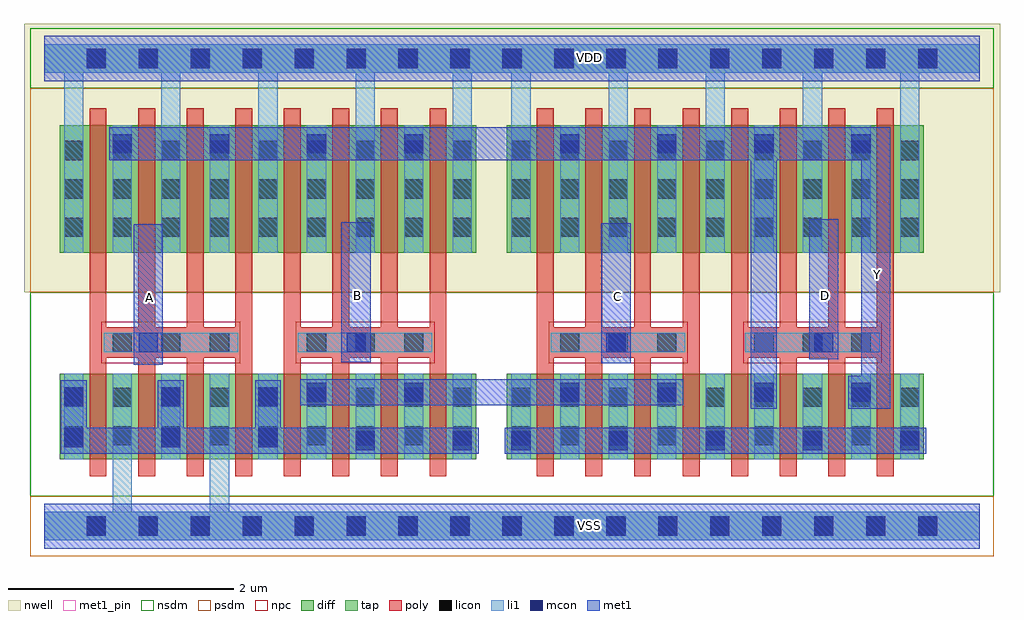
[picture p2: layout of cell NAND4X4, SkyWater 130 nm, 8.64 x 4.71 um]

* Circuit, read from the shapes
.subckt NAND4X4 A B C D VDD VSS Y
XM1 VSS A n1 VSS sky130_fd_pr__nfet_01v8 w=0.76 l=0.15 m=4
XM2 n2 B n1 VSS sky130_fd_pr__nfet_01v8 w=0.76 l=0.15 m=4
XM3 n2 C n3 VSS sky130_fd_pr__nfet_01v8 w=0.76 l=0.15 m=4
XM4 Y D n3 VSS sky130_fd_pr__nfet_01v8 w=0.76 l=0.15 m=4
XM5 Y A VDD VDD sky130_fd_pr__pfet_01v8 w=1.13 l=0.15 m=4
XM6 Y B VDD VDD sky130_fd_pr__pfet_01v8 w=1.13 l=0.15 m=4
XM7 Y C VDD VDD sky130_fd_pr__pfet_01v8 w=1.13 l=0.15 m=4
XM8 Y D VDD VDD sky130_fd_pr__pfet_01v8 w=1.13 l=0.15 m=4
.ends

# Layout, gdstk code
from math import pi, radians
import gdstk
lib = gdstk.Library(unit=1e-6, precision=1e-09)
def R(c, l, rs):  # rectangles x0, y0, x1, y1
    for r in rs: c.add(gdstk.rectangle(r[:2], r[2:], *l))
def A(c, l, x, y, w, h, nx, ny, dx, dy):  # array of equal rectangles
    R(c, l, [(x+i*dx, y+j*dy, x+i*dx+w, y+j*dy+h) for i in range(nx) for j in range(ny)])
def P(c, l, *ps):  # polygons
    for p in ps: c.add(gdstk.Polygon(p, *l))
nwell = (64, 20)
diff = (65, 20)
tap = (65, 44)
poly = (66, 20)
licon = (66, 44)
li1 = (67, 20)
mcon = (67, 44)
met1_pin = (68, 16)
met1 = (68, 20)
nsdm = (93, 44)
psdm = (94, 20)
npc = (95, 20)

pyl1con_c_cdns_751554744 = lib.new_cell('PYL1CON_C_CDNS_751554744751')
R(pyl1con_c_cdns_751554744, poly, [(-0.135,-0.165,0.135,0.165)])
R(pyl1con_c_cdns_751554744, licon, [(-0.085,-0.085,0.085,0.085)])
R(pyl1con_c_cdns_751554744, npc, [(-0.185,-0.185,0.185,0.185)])

l1m1_c_cdns_751554744750 = lib.new_cell('L1M1_C_CDNS_751554744750_CDNS_7956644774916')
R(l1m1_c_cdns_751554744750, li1, [(-0.085,-0.165,0.085,0.165)])
R(l1m1_c_cdns_751554744750, mcon, [(-0.085,-0.085,0.085,0.085)])
R(l1m1_c_cdns_751554744750, met1, [(-0.145,-0.115,0.145,0.115)])

c_l1m1_c_cdns_751554744750 = lib.new_cell('L1M1_C_CDNS_751554744750_CDNS_7956644774912')
R(c_l1m1_c_cdns_751554744750, li1, [(-0.165,-0.085,0.165,0.085)])
R(c_l1m1_c_cdns_751554744750, mcon, [(-0.085,-0.085,0.085,0.085)])
R(c_l1m1_c_cdns_751554744750, met1, [(-0.115,-0.145,0.115,0.145)])

c_l1m1_c_cdns_751554744750_ = lib.new_cell('L1M1_C_CDNS_751554744750_CDNS_7956644774910')
R(c_l1m1_c_cdns_751554744750_, li1, [(-0.085,-0.345,0.085,0.345)])
R(c_l1m1_c_cdns_751554744750_, mcon, [(-0.085,-0.265,0.085,-0.095), (-0.085,0.095,0.085,0.265)])
R(c_l1m1_c_cdns_751554744750_, met1, [(-0.115,-0.325,0.115,0.325)])

c_l1m1_c_cdns_751554744750__ = lib.new_cell('L1M1_C_CDNS_751554744750_CDNS_7956644774911')
R(c_l1m1_c_cdns_751554744750__, li1, [(-0.085,-0.165,0.085,0.165)])
R(c_l1m1_c_cdns_751554744750__, mcon, [(-0.085,-0.085,0.085,0.085)])
R(c_l1m1_c_cdns_751554744750__, met1, [(-0.115,-0.145,0.115,0.145)])

nand4x4 = lib.new_cell('NAND4X4')
R(nand4x4, nwell, [(-0.18,2.07,8.46,4.445)])
R(nand4x4, diff, [(0.135,0.59,3.825,1.35), (4.095,0.59,7.785,1.35), (0.135,2.42,3.825,3.55), (4.095,2.42,7.785,3.55)])
A(nand4x4, poly, 0.4, 0.44, 0.15, 3.26, 8, 1, 0.43, 0)
A(nand4x4, poly, 4.36, 0.44, 0.15, 3.26, 8, 1, 0.43, 0)
A(nand4x4, licon, 0.375, -0.085, 0.17, 0.17, 17, 2, 0.46, 4.14)
A(nand4x4, licon, 0.175, 0.715, 0.17, 0.17, 9, 2, 0.43, 0.34)
A(nand4x4, licon, 4.135, 0.715, 0.17, 0.17, 9, 2, 0.43, 0.34)
A(nand4x4, licon, 0.175, 2.56, 0.17, 0.17, 9, 3, 0.43, 0.34)
A(nand4x4, licon, 4.135, 2.56, 0.17, 0.17, 9, 3, 0.43, 0.34)
A(nand4x4, li1, 0.175, 0.59, 0.17, 0.76, 3, 1, 0.86, 0)
A(nand4x4, li1, 2.325, 0.59, 0.17, 0.76, 4, 1, 0.43, 0)
A(nand4x4, li1, 4.135, 0.59, 0.17, 0.76, 9, 1, 0.43, 0)
A(nand4x4, li1, 0.605, 2.42, 0.17, 1.13, 4, 1, 0.86, 0)
A(nand4x4, li1, 4.565, 2.42, 0.17, 1.13, 4, 1, 0.86, 0)
P(nand4x4, li1, [(0,-0.125),(0,0.125),(0.605,0.125),(0.605,1.35),(0.775,1.35),(0.775,0.125),(1.465,0.125),(1.465,1.35),(1.635,1.35),(1.635,0.125),(8.28,0.125),(8.28,-0.125)],
  [(0.175,2.42),(0.175,4.015),(0,4.015),(0,4.265),(8.28,4.265),(8.28,4.015),(7.745,4.015),(7.745,2.42),(7.575,2.42),(7.575,4.015),(6.885,4.015),(6.885,2.42),(6.715,2.42),(6.715,4.015),(6.025,4.015),(6.025,2.42),(5.855,2.42),(5.855,4.015),(5.165,4.015),(5.165,2.42),(4.995,2.42),(4.995,4.015),(4.305,4.015),(4.305,2.42),(4.135,2.42),(4.135,4.015),(3.785,4.015),(3.785,2.42),(3.615,2.42),(3.615,4.015),(2.925,4.015),(2.925,2.42),(2.755,2.42),(2.755,4.015),(2.065,4.015),(2.065,2.42),(1.895,2.42),(1.895,4.015),(1.205,4.015),(1.205,2.42),(1.035,2.42),(1.035,4.015),(0.345,4.015),(0.345,2.42)])
A(nand4x4, mcon, 0.375, -0.085, 0.17, 0.17, 17, 2, 0.46, 4.14)
R(nand4x4, met1_pin, [(0.79,1.43,1.05,2.67), (4.93,1.44,5.19,2.68), (2.63,1.45,2.89,2.69), (6.77,1.475,7.03,2.715), (7.23,1.63,7.49,2.87)])
P(nand4x4, met1, [(6.255,1.04),(6.255,3.24),(0.575,3.24),(0.575,3.53),(7.49,3.53),(7.49,1.04),(7.23,1.04),(7.23,3.24),(6.485,3.24),(6.485,1.04)])
R(nand4x4, nsdm, [(-0.125,0.265,8.405,2.07), (-0.125,3.875,8.405,4.405)])
R(nand4x4, psdm, [(-0.125,-0.265,8.405,0.265), (-0.125,2.07,8.405,3.875)])
R(nand4x4, npc, [(0.505,1.44,1.735,1.81), (2.225,1.44,3.455,1.81), (4.465,1.44,5.695,1.81), (6.185,1.44,7.415,1.81)])
nand4x4.add(gdstk.FlexPath([(4.485,1.625),(5.675,1.625)], 0.17, ends="flush", simple_path=True, layer=67, datatype=20))  # li1
nand4x4.add(gdstk.FlexPath([(2.245,1.625),(3.435,1.625)], 0.17, ends="flush", simple_path=True, layer=67, datatype=20))  # li1
nand4x4.add(gdstk.FlexPath([(6.205,1.625),(7.395,1.625)], 0.17, ends="flush", simple_path=True, layer=67, datatype=20))  # li1
nand4x4.add(gdstk.FlexPath([(0.525,1.625),(1.715,1.625)], 0.17, ends="flush", simple_path=True, layer=67, datatype=20))  # li1
nand4x4.add(gdstk.FlexPath([(0,0),(8.28,0)], 0.4, ends="flush", simple_path=True, layer=68, datatype=20))  # met1
nand4x4.add(gdstk.FlexPath([(3.845,0.755),(0.145,0.755)], 0.23, ends="flush", simple_path=True, layer=68, datatype=20))  # met1
nand4x4.add(gdstk.FlexPath([(6.9,1.475),(6.9,2.715)], 0.26, ends="flush", simple_path=True, layer=68, datatype=20))  # met1
nand4x4.add(gdstk.FlexPath([(5.655,1.185),(2.265,1.185)], 0.23, ends="flush", simple_path=True, layer=68, datatype=20))  # met1
nand4x4.add(gdstk.FlexPath([(7.71,0.755),(4.075,0.755)], 0.23, ends="flush", simple_path=True, layer=68, datatype=20))  # met1
nand4x4.add(gdstk.FlexPath([(0.92,1.43),(0.92,2.67)], 0.26, ends="flush", simple_path=True, layer=68, datatype=20))  # met1
nand4x4.add(gdstk.FlexPath([(2.76,1.45),(2.76,2.69)], 0.26, ends="flush", simple_path=True, layer=68, datatype=20))  # met1
nand4x4.add(gdstk.FlexPath([(5.06,1.44),(5.06,2.68)], 0.26, ends="flush", simple_path=True, layer=68, datatype=20))  # met1
nand4x4.add(gdstk.FlexPath([(0,4.14),(8.28,4.14)], 0.4, ends="flush", simple_path=True, layer=68, datatype=20))  # met1
nand4x4.add(gdstk.FlexPath([(0,4.14),(8.28,4.14)], 0.25, ends="flush", simple_path=True, layer=65, datatype=44))  # tap
nand4x4.add(gdstk.FlexPath([(0,0),(8.28,0)], 0.25, ends="flush", simple_path=True, layer=65, datatype=44))  # tap
nand4x4.add(gdstk.FlexPath([(0,0),(8.28,0)], 0.4, ends="flush", simple_path=True, layer=68, datatype=16))  # met1_pin
nand4x4.add(gdstk.FlexPath([(0,4.14),(8.28,4.14)], 0.4, ends="flush", simple_path=True, layer=68, datatype=16))  # met1_pin
nand4x4.add(gdstk.Reference(pyl1con_c_cdns_751554744, (0.69,1.625), rotation=3*pi/2, x_reflection=True))
nand4x4.add(gdstk.Reference(pyl1con_c_cdns_751554744, (1.12,1.625), rotation=3*pi/2, x_reflection=True))
nand4x4.add(gdstk.Reference(pyl1con_c_cdns_751554744, (1.55,1.625), rotation=3*pi/2, x_reflection=True))
nand4x4.add(gdstk.Reference(pyl1con_c_cdns_751554744, (2.41,1.625), rotation=3*pi/2, x_reflection=True))
nand4x4.add(gdstk.Reference(pyl1con_c_cdns_751554744, (2.84,1.625), rotation=3*pi/2, x_reflection=True))
nand4x4.add(gdstk.Reference(pyl1con_c_cdns_751554744, (3.27,1.625), rotation=3*pi/2, x_reflection=True))
nand4x4.add(gdstk.Reference(pyl1con_c_cdns_751554744, (4.65,1.625), rotation=3*pi/2, x_reflection=True))
nand4x4.add(gdstk.Reference(pyl1con_c_cdns_751554744, (5.08,1.625), rotation=3*pi/2, x_reflection=True))
nand4x4.add(gdstk.Reference(pyl1con_c_cdns_751554744, (5.51,1.625), rotation=3*pi/2, x_reflection=True))
nand4x4.add(gdstk.Reference(pyl1con_c_cdns_751554744, (6.37,1.625), rotation=3*pi/2, x_reflection=True))
nand4x4.add(gdstk.Reference(pyl1con_c_cdns_751554744, (6.8,1.625), rotation=3*pi/2, x_reflection=True))
nand4x4.add(gdstk.Reference(pyl1con_c_cdns_751554744, (7.23,1.625), rotation=3*pi/2, x_reflection=True))
nand4x4.add(gdstk.Reference(l1m1_c_cdns_751554744750, (2.41,1.185), x_reflection=True))
nand4x4.add(gdstk.Reference(l1m1_c_cdns_751554744750, (2.84,0.755), x_reflection=True))
nand4x4.add(gdstk.Reference(l1m1_c_cdns_751554744750, (3.27,1.185), x_reflection=True))
nand4x4.add(gdstk.Reference(l1m1_c_cdns_751554744750, (3.7,0.755), x_reflection=True))
nand4x4.add(gdstk.Reference(l1m1_c_cdns_751554744750, (4.65,1.185), x_reflection=True))
nand4x4.add(gdstk.Reference(l1m1_c_cdns_751554744750, (5.08,0.755), x_reflection=True))
nand4x4.add(gdstk.Reference(l1m1_c_cdns_751554744750, (5.51,1.185), x_reflection=True))
nand4x4.add(gdstk.Reference(l1m1_c_cdns_751554744750, (4.22,0.755), x_reflection=True))
nand4x4.add(gdstk.Reference(l1m1_c_cdns_751554744750, (5.94,0.755), x_reflection=True))
nand4x4.add(gdstk.Reference(l1m1_c_cdns_751554744750, (6.8,0.755), x_reflection=True))
nand4x4.add(gdstk.Reference(l1m1_c_cdns_751554744750, (7.66,0.755), x_reflection=True))
nand4x4.add(gdstk.Reference(c_l1m1_c_cdns_751554744750, (0.92,1.625), x_reflection=True))
nand4x4.add(gdstk.Reference(c_l1m1_c_cdns_751554744750, (2.76,1.625), x_reflection=True))
nand4x4.add(gdstk.Reference(c_l1m1_c_cdns_751554744750, (5.06,1.625), x_reflection=True))
nand4x4.add(gdstk.Reference(c_l1m1_c_cdns_751554744750, (6.9,1.625), x_reflection=True))
nand4x4.add(gdstk.Reference(c_l1m1_c_cdns_751554744750_, (1.98,0.965)))
nand4x4.add(gdstk.Reference(c_l1m1_c_cdns_751554744750_, (1.12,0.965)))
nand4x4.add(gdstk.Reference(c_l1m1_c_cdns_751554744750_, (0.26,0.965)))
nand4x4.add(gdstk.Reference(c_l1m1_c_cdns_751554744750__, (0.69,3.385)))
nand4x4.add(gdstk.Reference(c_l1m1_c_cdns_751554744750__, (1.55,3.385)))
nand4x4.add(gdstk.Reference(c_l1m1_c_cdns_751554744750__, (2.41,3.385)))
nand4x4.add(gdstk.Reference(c_l1m1_c_cdns_751554744750__, (3.27,3.385)))
nand4x4.add(gdstk.Reference(c_l1m1_c_cdns_751554744750__, (6.37,1.185)))
nand4x4.add(gdstk.Reference(c_l1m1_c_cdns_751554744750__, (4.65,3.385)))
nand4x4.add(gdstk.Reference(c_l1m1_c_cdns_751554744750__, (5.51,3.385)))
nand4x4.add(gdstk.Reference(c_l1m1_c_cdns_751554744750__, (6.37,3.385)))
nand4x4.add(gdstk.Reference(c_l1m1_c_cdns_751554744750__, (7.23,3.385)))
nand4x4.add(gdstk.Reference(c_l1m1_c_cdns_751554744750__, (7.23,1.185)))
nand4x4.add(gdstk.Label('VSS', (4.825,0.005), layer=68, texttype=5))
nand4x4.add(gdstk.Label('D', (6.915,2.04), layer=68, texttype=5))
nand4x4.add(gdstk.Label('Y', (7.375,2.225), layer=68, texttype=5))
nand4x4.add(gdstk.Label('A', (0.935,2.025), layer=68, texttype=5))
nand4x4.add(gdstk.Label('B', (2.775,2.045), layer=68, texttype=5))
nand4x4.add(gdstk.Label('C', (5.075,2.035), layer=68, texttype=5))
nand4x4.add(gdstk.Label('VDD', (4.825,4.145), layer=68, texttype=5))

lib.write_gds('NAND4X4.gds')
